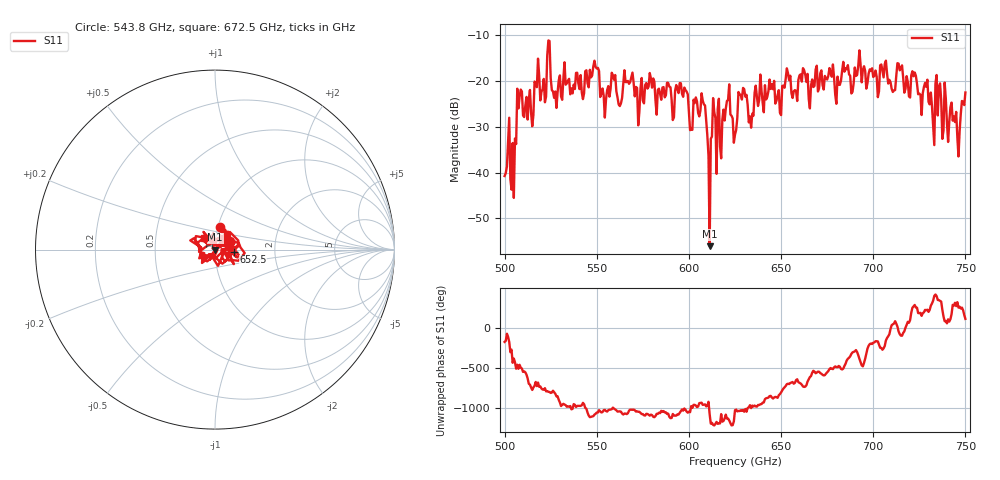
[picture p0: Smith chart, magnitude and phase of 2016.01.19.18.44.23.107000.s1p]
!Created with skrf (http://scikit-rf.org).
# GHz S RI R 50.0
!freq ReS11 ImS11
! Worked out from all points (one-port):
!   401 points, 500 GHz to 750 GHz, reference 50 ohm
!   lowest |S11| = -56.0 dB at 611.2 GHz (marker M1), VSWR 1.00, Z = 50.2 - j0.00627 ohm
!   |S11| at or under -10 dB: start of sweep to end of sweep
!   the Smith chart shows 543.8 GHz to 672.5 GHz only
!   S11 on the Smith chart (normalised r, x): 543.8 GHz: 1.02, +0.26; 652.5 GHz: 1.23, -0.04; 672.5 GHz: 0.88, +0.12
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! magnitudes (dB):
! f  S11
! 500 GHz  -40.7
! 504.4 GHz  -33.5
! 508.1 GHz  -23.4
! 514.4 GHz  -27.0
! 524.4 GHz  -11.3
! 526.9 GHz  -23.7
! 531.2 GHz  -24.1
! 543.8 GHz  -17.9
! 562.5 GHz  -25.5
! 593.8 GHz  -21.8
! 601.2 GHz  -30.4
! 608.1 GHz  -25.1
! 611.2 GHz  -56.0
! 613.1 GHz  -23.7
! 616.2 GHz  -23.9
! 621.2 GHz  -24.1
! 625 GHz  -31.7
! 628.1 GHz  -23.0
! 633.8 GHz  -30.2
! 652.5 GHz  -19.5
! 656.2 GHz  -23.7
! 672.5 GHz  -20.9
! 687.5 GHz  -18.9
! 718.8 GHz  -20.2
! 731.9 GHz  -25.5
! 735 GHz  -27.5
! 745.6 GHz  -32.2
! 750 GHz  -22.5
